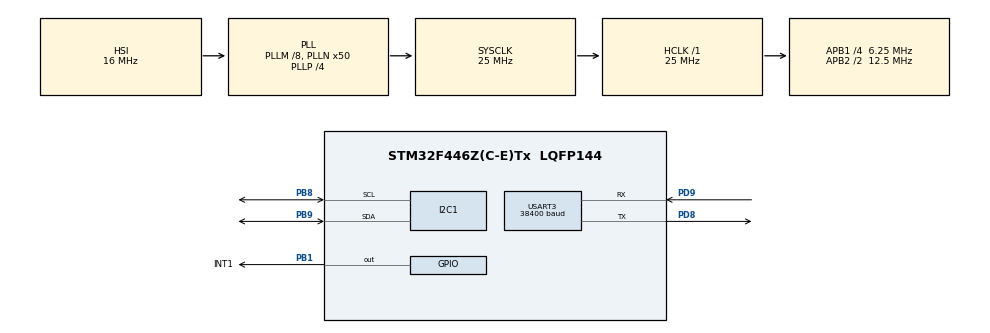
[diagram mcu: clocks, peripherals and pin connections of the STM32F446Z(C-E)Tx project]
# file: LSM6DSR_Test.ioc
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Mcu.Family=STM32F4
Mcu.Name=STM32F446Z(C-E)Tx
Mcu.Package=LQFP144
NVIC.PriorityGroup=NVIC_PRIORITYGROUP_4
NVIC.TIM1_UP_TIM10_IRQn=true\:15\:0\:false\:false\:true\:false\:true
NVIC.TimeBase=TIM1_UP_TIM10_IRQn
NVIC.TimeBaseIP=TIM1
PB1.GPIO_Label=INT1
PB1.Signal=GPIO_Output
PB8.Mode=I2C
PB8.Signal=I2C1_SCL
PB9.Mode=I2C
PB9.Signal=I2C1_SDA
PD8.Mode=Asynchronous
PD8.Signal=USART3_TX
PD9.Mode=Asynchronous
PD9.Signal=USART3_RX
ProjectManager.HeapSize=0x200
ProjectManager.StackSize=0x400
ProjectManager.TargetToolchain=STM32CubeIDE
RCC.48MHZClocksFreq_Value=24000000
RCC.AHBFreq_Value=25000000
RCC.APB1CLKDivider=RCC_HCLK_DIV4
RCC.APB1Freq_Value=6250000
RCC.APB1TimFreq_Value=12500000
RCC.APB2CLKDivider=RCC_HCLK_DIV2
RCC.APB2Freq_Value=12500000
RCC.APB2TimFreq_Value=25000000
RCC.CortexFreq_Value=25000000
RCC.HCLKFreq_Value=25000000
RCC.HSE_VALUE=8000000
RCC.HSI_VALUE=16000000
RCC.PLLM=8
RCC.PLLMUL=RCC_PLL_MUL9
RCC.PLLN=50
RCC.PLLP=RCC_PLLP_DIV4
RCC.PLLQ=7
RCC.PRESCALERUSB=RCC_USBCLKSOURCE_PLL_DIV1_5
RCC.SYSCLKFreq_VALUE=25000000
RCC.SYSCLKSource=RCC_SYSCLKSOURCE_PLLCLK
RCC.SYSCLKSourceVirtual=RCC_SYSCLKSOURCE_PLLCLK
RCC.USBFreq_Value=14285714.285714285
RCC.VCOOutputFreq_Value=100000000
USART3.BaudRate=38400
USART3.VirtualMode=VM_ASYNC
VP_SYS_VS_tim1.Mode=TIM1
board=NUCLEO-F446ZE

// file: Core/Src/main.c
/* USER CODE BEGIN Header */
/**
  ******************************************************************************
  * @file           : main.c
  * @brief          : Main program body
  ******************************************************************************
  * @attention
  *
  * <h2><center>&copy; Copyright (c) 2021 STMicroelectronics.
  * All rights reserved.</center></h2>
  *
  * This software component is licensed by ST under BSD 3-Clause license,
  * the "License"; You may not use this file except in compliance with the
  * License. You may obtain a copy of the License at:
  *                        opensource.org/licenses/BSD-3-Clause
  *
  ******************************************************************************
  */

/*
 * Example used:
 * https://github.com/STMicroelectronics/STMems_Standard_C_drivers/blob/master/lsm6dsr_STdC/examples/lsm6dsr_read_data_polling.c
 * https://docs.google.com/document/d/11LbYRzzlxmaHmQzeuiTY6JHf88UdYm1TuBmDsukHJq8/edit
 */

/* USER CODE END Header */
#include "main.h"

/* USER CODE BEGIN Includes */
#include <string.h>
#include <stdio.h>
#include "ism330dlc_reg.h"
#include "stm32f4xx_hal.h"

/* USER CODE END Includes */

/* USER CODE BEGIN PTD */

extern I2C_HandleTypeDef hi2c1;
extern UART_HandleTypeDef huart2;

/* USER CODE END PTD */

/* USER CODE BEGIN PD */

#define SENSOR_BUS hi2c1

/* USER CODE END PD */

/* USER CODE BEGIN PM */

#define    BOOT_TIME            10 //ms
#define TX_BUF_DIM          1000

/* USER CODE END PM */

I2C_HandleTypeDef hi2c1;

UART_HandleTypeDef huart3;

/* USER CODE BEGIN PV */

//Necessary for setting up the device
static uint8_t whoamI, rst;
stmdev_ctx_t dev_ctx;

//Necessary for acceleration
static int16_t data_raw_acceleration[3];
static float acceleration_mg[3];

//Necessary for angular rate
static int16_t data_raw_angular_rate[3];
static float angular_rate_mdps[3];

//Necessary for temp
static int16_t data_raw_temperature;
static float temperature_degC;

//Necessary to output data
static uint8_t tx_buffer[TX_BUF_DIM];

/* USER CODE END PV */

void SystemClock_Config(void);
static void MX_GPIO_Init(void);
static void MX_USART3_UART_Init(void);
static void MX_I2C1_Init(void);
/* USER CODE BEGIN PFP */

/*
 *   WARNING:
 *   Functions declare in this section must be defined at the end of this file
 *
 */
static int32_t write(void *handle, uint8_t reg, const uint8_t *bufp,uint16_t len);
static int32_t read(void *handle, uint8_t reg, uint8_t *bufp,uint16_t len);
static void tx_com( uint8_t *tx_buffer, uint16_t len );
void setup(stmdev_ctx_t* dev_ctx);
void lsm6dsr_read_data_polling(stmdev_ctx_t* dev_ctx);

/* USER CODE END PFP */

int main(void)
{
  /* USER CODE BEGIN 1 */

	//If Float error message: go to Project->Properties->C/C++ Build->Settings->
	//MCU Settings->Check the box "Use float with printf"

	/* Main Example --------------------------------------------------------------*/

  /* USER CODE END 1 */

  /* MCU Configuration--------------------------------------------------------*/

  /* Reset of all peripherals, Initializes the Flash interface and the Systick. */
  HAL_Init();

  /* Configure the system clock */
  SystemClock_Config();

  /* Initialize all configured peripherals */
  MX_GPIO_Init();
  MX_USART3_UART_Init();
  MX_I2C1_Init();

  /* Infinite loop */
  /* USER CODE BEGIN WHILE */
  while (1)
  {
	  HAL_UART_Transmit(&huart3,"\n\rMain Loop Starts\n\r", 24, HAL_MAX_DELAY);
	  setup(&dev_ctx);
	  lsm6dsr_read_data_polling(&dev_ctx);
	  HAL_UART_Transmit(&huart3,"Main Loop Terminated\n\r", 24, HAL_MAX_DELAY);
	  break;
    /* USER CODE END WHILE */

    /* USER CODE BEGIN 3 */
  }
  HAL_UART_Transmit(&huart3,"Program Terminated\n\r", 22, HAL_MAX_DELAY);
  /* USER CODE END 3 */
}

void SystemClock_Config(void)
{
  RCC_OscInitTypeDef RCC_OscInitStruct = {0};
  RCC_ClkInitTypeDef RCC_ClkInitStruct = {0};

  /** Configure the main internal regulator output voltage
  */
  __HAL_RCC_PWR_CLK_ENABLE();
  __HAL_PWR_VOLTAGESCALING_CONFIG(PWR_REGULATOR_VOLTAGE_SCALE3);
  /** Initializes the RCC Oscillators according to the specified parameters
  * in the RCC_OscInitTypeDef structure.
  */
  RCC_OscInitStruct.OscillatorType = RCC_OSCILLATORTYPE_HSI;
  RCC_OscInitStruct.HSIState = RCC_HSI_ON;
  RCC_OscInitStruct.HSICalibrationValue = RCC_HSICALIBRATION_DEFAULT;
  RCC_OscInitStruct.PLL.PLLState = RCC_PLL_ON;
  RCC_OscInitStruct.PLL.PLLSource = RCC_PLLSOURCE_HSI;
  RCC_OscInitStruct.PLL.PLLM = 8;
  RCC_OscInitStruct.PLL.PLLN = 50;
  RCC_OscInitStruct.PLL.PLLP = RCC_PLLP_DIV4;
  RCC_OscInitStruct.PLL.PLLQ = 7;
  RCC_OscInitStruct.PLL.PLLR = 2;
  if (HAL_RCC_OscConfig(&RCC_OscInitStruct) != HAL_OK)
  {
    Error_Handler();
  }
  /** Initializes the CPU, AHB and APB buses clocks
  */
  RCC_ClkInitStruct.ClockType = RCC_CLOCKTYPE_HCLK|RCC_CLOCKTYPE_SYSCLK
                              |RCC_CLOCKTYPE_PCLK1|RCC_CLOCKTYPE_PCLK2;
  RCC_ClkInitStruct.SYSCLKSource = RCC_SYSCLKSOURCE_PLLCLK;
  RCC_ClkInitStruct.AHBCLKDivider = RCC_SYSCLK_DIV1;
  RCC_ClkInitStruct.APB1CLKDivider = RCC_HCLK_DIV4;
  RCC_ClkInitStruct.APB2CLKDivider = RCC_HCLK_DIV2;

  if (HAL_RCC_ClockConfig(&RCC_ClkInitStruct, FLASH_LATENCY_0) != HAL_OK)
  {
    Error_Handler();
  }
}

static void MX_I2C1_Init(void)
{

  hi2c1.Instance = I2C1;
  hi2c1.Init.ClockSpeed = 100000;
  hi2c1.Init.DutyCycle = I2C_DUTYCYCLE_2;
  hi2c1.Init.OwnAddress1 = 0;
  hi2c1.Init.AddressingMode = I2C_ADDRESSINGMODE_7BIT;
  hi2c1.Init.DualAddressMode = I2C_DUALADDRESS_DISABLE;
  hi2c1.Init.OwnAddress2 = 0;
  hi2c1.Init.GeneralCallMode = I2C_GENERALCALL_DISABLE;
  hi2c1.Init.NoStretchMode = I2C_NOSTRETCH_DISABLE;
  if (HAL_I2C_Init(&hi2c1) != HAL_OK)
  {
    Error_Handler();
  }

}

static void MX_USART3_UART_Init(void)
{

  huart3.Instance = USART3;
  huart3.Init.BaudRate = 38400;
  huart3.Init.WordLength = UART_WORDLENGTH_8B;
  huart3.Init.StopBits = UART_STOPBITS_1;
  huart3.Init.Parity = UART_PARITY_NONE;
  huart3.Init.Mode = UART_MODE_TX_RX;
  huart3.Init.HwFlowCtl = UART_HWCONTROL_NONE;
  huart3.Init.OverSampling = UART_OVERSAMPLING_16;
  if (HAL_UART_Init(&huart3) != HAL_OK)
  {
    Error_Handler();
  }

}

static void MX_GPIO_Init(void)
{
  GPIO_InitTypeDef GPIO_InitStruct = {0};

  /* GPIO Ports Clock Enable */
  __HAL_RCC_GPIOB_CLK_ENABLE();
  __HAL_RCC_GPIOD_CLK_ENABLE();

  /*Configure GPIO pin Output Level */
  HAL_GPIO_WritePin(INT1_GPIO_Port, INT1_Pin, GPIO_PIN_RESET);

  /*Configure GPIO pin : INT1_Pin */
  GPIO_InitStruct.Pin = INT1_Pin;
  GPIO_InitStruct.Mode = GPIO_MODE_OUTPUT_PP;
  GPIO_InitStruct.Pull = GPIO_NOPULL;
  GPIO_InitStruct.Speed = GPIO_SPEED_FREQ_LOW;
  HAL_GPIO_Init(INT1_GPIO_Port, &GPIO_InitStruct);

}

/* USER CODE BEGIN 4 */

void setup(stmdev_ctx_t *dev_ctx)
	{
	  HAL_UART_Transmit(&huart3,"LISM330DLC Setup Starts\n\r", 27, HAL_MAX_DELAY);
	  /* Initialize mems driver interface */
	  dev_ctx->write_reg = write;
	  dev_ctx->read_reg = read;
	  dev_ctx->handle = &SENSOR_BUS;
	  /* Wait sensor boot time */
	  HAL_Delay(BOOT_TIME);
	  /* Check device ID */
	  ism330dlc_device_id_get(dev_ctx, &whoamI);

	  	  HAL_UART_Transmit(&huart3,"Checking Sensor ID...", 21, HAL_MAX_DELAY);
	  if (whoamI != ISM330DLC_ID){
		  HAL_UART_Transmit(&huart3,"NOT OK\n\r", 10, HAL_MAX_DELAY);
		  HAL_UART_Transmit(&huart3,"This Device is: " , 16, HAL_MAX_DELAY);
		  HAL_UART_Transmit(&huart3,whoamI, 2, HAL_MAX_DELAY);
		  HAL_UART_Transmit(&huart3,"\n\rProgram Terminated\n\r", 26, HAL_MAX_DELAY);
		  while(1);
	  }
	  	  HAL_UART_Transmit(&huart3,"OK\n\r", 6, HAL_MAX_DELAY);

	  /* Restore default configuration */
	  ism330dlc_reset_set(dev_ctx, PROPERTY_ENABLE);

	  do {
		ism330dlc_reset_get(dev_ctx, &rst);
	  } while (rst);

	  /* Enable Block Data Update */
	    ism330dlc_block_data_update_set(dev_ctx, PROPERTY_ENABLE);
	    /* Set Output Data Rate */
	    ism330dlc_xl_data_rate_set(dev_ctx, ISM330DLC_XL_ODR_12Hz5);
	    ism330dlc_gy_data_rate_set(dev_ctx, ISM330DLC_GY_ODR_12Hz5);
	    /* Set full scale */
	    ism330dlc_xl_full_scale_set(dev_ctx, ISM330DLC_2g);
	    ism330dlc_gy_full_scale_set(dev_ctx, ISM330DLC_2000dps);
	    /* Configure filtering chain(No aux interface) */
	    /* Accelerometer - analog filter */
	    ism330dlc_xl_filter_analog_set(dev_ctx, ISM330DLC_XL_ANA_BW_400Hz);
	    /* Accelerometer - LPF1 path ( LPF2 not used )*/
	    //ism330dlc_xl_lp1_bandwidth_set(dev_ctx, ISM330DLC_XL_LP1_ODR_DIV_4);
	    /* Accelerometer - LPF1 + LPF2 path */
	    ism330dlc_xl_lp2_bandwidth_set(dev_ctx,
	                                   ISM330DLC_XL_LOW_NOISE_LP_ODR_DIV_100);
	    /* Accelerometer - High Pass / Slope path */
	    //ism330dlc_xl_reference_mode_set(&dev_ctx, PROPERTY_DISABLE);
	    //ism330dlc_xl_hp_bandwidth_set(&dev_ctx, ISM330DLC_XL_HP_ODR_DIV_100);
	    /* Gyroscope - filtering chain */
	    ism330dlc_gy_band_pass_set(dev_ctx, ISM330DLC_HP_260mHz_LP1_STRONG);
	    HAL_UART_Transmit(&huart3,"LISM330DLC Setup Ends\n\r", 25, HAL_MAX_DELAY);
	}

void lsm6dsr_read_data_polling(stmdev_ctx_t *dev_ctx)
{
	HAL_UART_Transmit(&huart3,"lism330dlc_read_data_polling called\n\r", 39, HAL_MAX_DELAY);
	  /* Read samples in polling mode */
	  	  HAL_UART_Transmit(&huart3,"Data reading loop starts in\n\r", 31, HAL_MAX_DELAY);
	  	  HAL_Delay(1000);
	  	  HAL_UART_Transmit(&huart3,"3", 3, HAL_MAX_DELAY);
	  	  HAL_Delay(1000);
	  	  HAL_UART_Transmit(&huart3,"\r2", 3, HAL_MAX_DELAY);
	  	  HAL_Delay(1000);
	  	  HAL_UART_Transmit(&huart3,"\r1\n\r", 3, HAL_MAX_DELAY);
	  	  HAL_Delay(1000);

	  while (1) {
		  /* Read output only if new value is available */
		  ism330dlc_reg_t reg; //For some reason, this one has to be in the loop
		  ism330dlc_status_reg_get(dev_ctx, &reg.status_reg);

		      if (reg.status_reg.xlda) {
		        /* Read magnetic field data */
		        memset(data_raw_acceleration, 0x00, 3 * sizeof(int16_t));
		        ism330dlc_acceleration_raw_get(dev_ctx, data_raw_acceleration);
		        acceleration_mg[0] = ism330dlc_from_fs2g_to_mg(
		                               data_raw_acceleration[0]);
		        acceleration_mg[1] = ism330dlc_from_fs2g_to_mg(
		                               data_raw_acceleration[1]);
		        acceleration_mg[2] = ism330dlc_from_fs2g_to_mg(
		                               data_raw_acceleration[2]);
		        sprintf((char *)tx_buffer,
		                "Acceleration [mg]:%4.2f\t%4.2f\t%4.2f\r\n",
		                acceleration_mg[0], acceleration_mg[1], acceleration_mg[2]);
		        //tx_com( tx_buffer, strlen( (char const *)tx_buffer ) );
		      }

		      if (reg.status_reg.gda) {
		        /* Read magnetic field data */
		        memset(data_raw_angular_rate, 0x00, 3 * sizeof(int16_t));
		        ism330dlc_angular_rate_raw_get(dev_ctx, data_raw_angular_rate);
		        angular_rate_mdps[0] = ism330dlc_from_fs2000dps_to_mdps(
		                                 data_raw_angular_rate[0]);
		        angular_rate_mdps[1] = ism330dlc_from_fs2000dps_to_mdps(
		                                 data_raw_angular_rate[1]);
		        angular_rate_mdps[2] = ism330dlc_from_fs2000dps_to_mdps(
		                                 data_raw_angular_rate[2]);
		        sprintf((char *)tx_buffer,
		                "Angular rate [mdps]:%4.2f\t%4.2f\t%4.2f\r\n",
		                angular_rate_mdps[0], angular_rate_mdps[1], angular_rate_mdps[2]);
		        tx_com( tx_buffer, strlen( (char const *)tx_buffer ) );
		      }

		      if (reg.status_reg.tda) {
		        /* Read temperature data */
		        memset( &data_raw_temperature, 0x00, sizeof(int16_t));
		        ism330dlc_temperature_raw_get(dev_ctx, &data_raw_temperature);
		        temperature_degC = ism330dlc_from_lsb_to_celsius(
		                             data_raw_temperature );
		        sprintf((char *)tx_buffer, "Temperature [degC]:%6.2f\r\n",
		                temperature_degC );
		        //tx_com( tx_buffer, strlen( (char const *)tx_buffer ) );
		      }

	    HAL_Delay(100);

	  }
	  HAL_UART_Transmit(&huart3,"Data reading loop ends\n\r", 26, HAL_MAX_DELAY);
	}

/*
 * @brief  Write generic device register (platform dependent)
 *
 * @param  handle    customizable argument. In this examples is used in
 *                   order to select the correct sensor bus handler.
 * @param  reg       register to write
 * @param  bufp      pointer to data to write in register reg
 * @param  len       number of consecutive register to write
 *
 */
static int32_t write(void *handle, uint8_t reg, const uint8_t *bufp,
                              uint16_t len)
{
  HAL_I2C_Mem_Write(handle, ISM330DLC_I2C_ADD_L, reg,
                    I2C_MEMADD_SIZE_8BIT, (uint8_t*) bufp, len, 1000);
  return 0;
}

/*
 * @brief  Read generic device register (platform dependent)
 *
 * @param  handle    customizable argument. In this examples is used in
 *                   order to select the correct sensor bus handler.
 * @param  reg       register to read
 * @param  bufp      pointer to buffer that store the data read
 * @param  len       number of consecutive register to read
 *
 */
static int32_t read(void *handle, uint8_t reg, uint8_t *bufp,
                             uint16_t len)
{
  HAL_I2C_Mem_Read(handle, ISM330DLC_I2C_ADD_L, reg,
                   I2C_MEMADD_SIZE_8BIT, bufp, len, 1000);
  return 0;
}

/*
 * @brief  Send buffer to console (platform dependent)
 *
 * @param  tx_buffer     buffer to transmit
 * @param  len           number of byte to send
 *
 */
static void tx_com(uint8_t *tx_buffer, uint16_t len)
{
  HAL_UART_Transmit(&huart3, tx_buffer, len, 1000);
}

/* USER CODE END 4 */

void HAL_TIM_PeriodElapsedCallback(TIM_HandleTypeDef *htim)
{
  if (htim->Instance == TIM1) {
    HAL_IncTick();
  }
}

void Error_Handler(void)
{
  __disable_irq();
  while (1)
  {
  }
}

/************************ (C) COPYRIGHT STMicroelectronics *****END OF FILE****/
